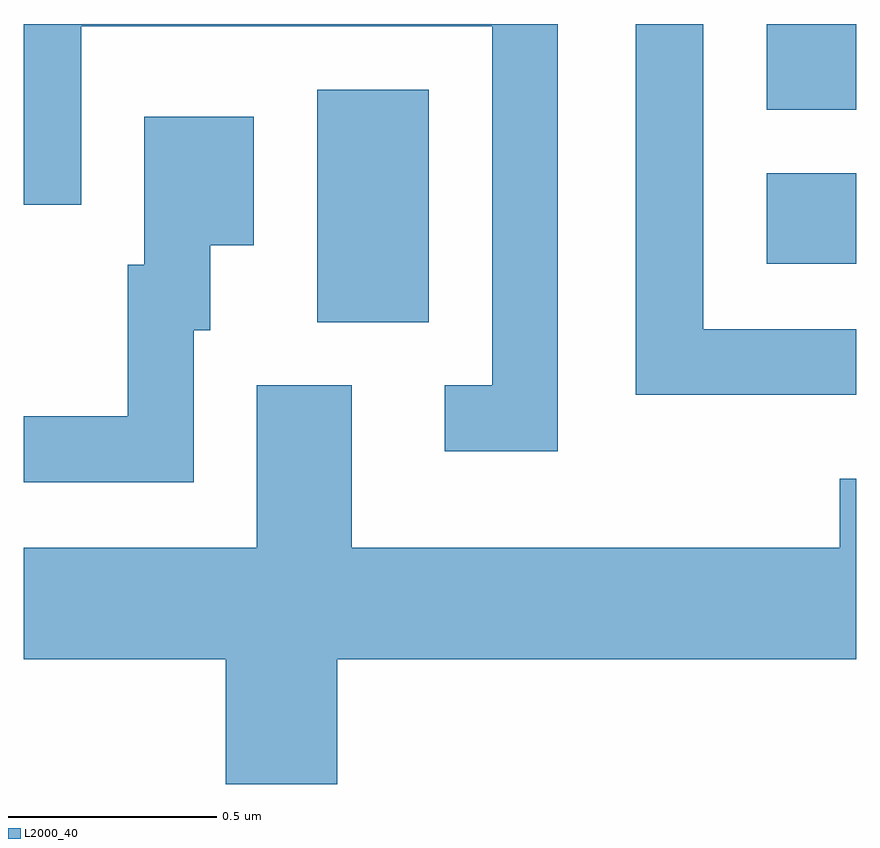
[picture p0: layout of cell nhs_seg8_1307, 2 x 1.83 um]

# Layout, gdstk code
import gdstk
lib = gdstk.Library(unit=1e-6, precision=1e-09)
def R(c, l, rs):  # rectangles x0, y0, x1, y1
    for r in rs: c.add(gdstk.rectangle(r[:2], r[2:], *l))
def P(c, l, *ps):  # polygons
    for p in ps: c.add(gdstk.Polygon(p, *l))
L2000_40 = (2000, 40)

nhs_seg8_1307 = lib.new_cell('nhs_seg8_1307')
R(nhs_seg8_1307, L2000_40, [(195.316,1881.626,195.584,1882.184), (196.396,1881.766,196.611,1881.984), (196.396,1882.136,196.611,1882.342)])
P(nhs_seg8_1307, L2000_40, [(196.611,1881.609),(196.244,1881.609),(196.244,1882.342),(196.081,1882.342),(196.081,1881.451),(196.611,1881.451)],
  [(195.894,1882.342),(194.611,1882.342),(194.611,1881.908),(194.749,1881.908),(194.749,1882.336),(195.736,1882.336),(195.736,1881.474),(195.623,1881.474),(195.623,1881.316),(195.894,1881.316)],
  [(195.019,1881.606),(195.059,1881.606),(195.059,1881.811),(195.164,1881.811),(195.164,1882.119),(194.901,1882.119),(194.901,1881.764),(194.861,1881.764),(194.861,1881.399),(194.611,1881.399),(194.611,1881.241),(195.019,1881.241)],
  [(195.364,1880.816),(196.611,1880.816),(196.611,1881.249),(196.571,1881.249),(196.571,1881.084),(195.399,1881.084),(195.399,1881.474),(195.171,1881.474),(195.171,1881.084),(194.611,1881.084),(194.611,1880.816),(195.096,1880.816),(195.096,1880.516),(195.364,1880.516)])

lib.write_gds('nhs_seg8_1307.gds')
